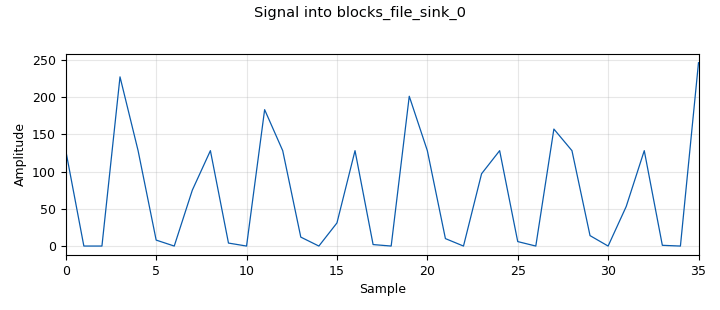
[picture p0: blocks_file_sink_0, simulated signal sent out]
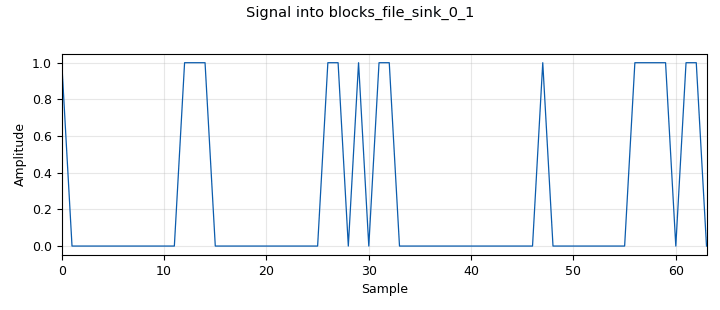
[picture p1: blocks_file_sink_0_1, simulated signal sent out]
<?xml version='1.0' encoding='utf-8'?>
<?grc format='1' created='3.7.8'?>
<flow_graph>
<block>
<key>options</key>
<param><key>id</key><value>top_block</value></param>
<param><key>category</key><value>Custom</value></param>
<param><key>generate_options</key><value>qt_gui</value></param>
</block>
<block>
<key>variable</key>
<param><key>id</key><value>preamble_0</value></param>
<param><key>value</key><value>[1, 1, 1, 1, 1, 1, 1, 1, 0, 0, 0, 0, 0, 0, 1, 1, 0, 1, 0, 1, 1, 0, 1, 0, 0, 1, 0, 1, 0, 0, 0, 0, 0, 1, 1, 1, 0, 1, 0, 0, 1, 1, 0, 1, 1, 1, 1, 0, 1, 0, 1, 1, 1, 0, 1, 1, 0, 1, 1, 0, 1, 0, 1, 0, 1, 0, 1, 1, 0,0, 1, 1, 0, 1, 0, 0, 0, 1, 0, 1, 1, 1, 0, 0, 0, 1, 0, 0, 1, 1, 0, 0, 0, 0, 0, 1, 0, 0, 1, 0, 1, 1, 1, 1, 1, 1, 0, 1, 1, 1, 1, 1, 0, 1, 0,0, 0, 0, 1, 0, 0, 0, 1, 0, 0, 0, 0, 1, 1, 1, 1, 0, 1, 1, 0, 0, 0, 1, 0, 1, 0, 0, 1, 1, 1, 0, 0, 0, 0, 1, 1, 0, 0, 1, 0, 0, 1, 0, 0, 0, 0, 0, 0, 0, 0, 1, 0, 1, 0, 1, 0, 0, 0, 1, 1, 0, 0, 0, 1, 1, 0, 1, 1, 0, 0, 1, 0, 1, 0, 1, 1, 1, 1, 0, 0, 1, 0, 0, 0, 1, 1, 1, 1, 1, 0, 0, 1,1, 1, 1, 0, 0, 0, 1, 1, 1, 0, 0, 1, 1, 0, 0, 1, 1, 1, 0, 1, 1, 1, 0, 0, 1, 0, 1, 1, 0, 0, 0, 0, 1, 0, 1, 1, 0, 1, 1, 1, 0, 1, 0, 1, 0, 0, 1, 0, 0]</value></param>
</block>
<block>
<key>variable</key>
<param><key>id</key><value>samp_rate</value></param>
<param><key>value</key><value>32000</value></param>
</block>
<block>
<key>blocks_file_sink</key>
<param><key>id</key><value>blocks_file_sink_0</value></param>
<param><key>file</key><value>/home/inets/Desktop/build_in_header.bin</value></param>
<param><key>type</key><value>byte</value></param>
<param><key>unbuffered</key><value>True</value></param>
</block>
<block>
<key>blocks_file_sink</key>
<param><key>id</key><value>blocks_file_sink_0_0</value></param>
<param><key>file</key><value>/home/inets/Desktop/custom_header.bin</value></param>
<param><key>type</key><value>byte</value></param>
<param><key>unbuffered</key><value>True</value></param>
</block>
<block>
<key>blocks_file_sink</key>
<param><key>id</key><value>blocks_file_sink_0_1</value></param>
<param><key>file</key><value>/home/inets/Desktop/build_in_header_unpacked.bin</value></param>
<param><key>type</key><value>byte</value></param>
<param><key>unbuffered</key><value>True</value></param>
</block>
<block>
<key>blocks_message_debug</key>
<param><key>id</key><value>blocks_message_debug_0</value></param>
<param><key>_enabled</key><value>0</value></param>
</block>
<block>
<key>blocks_message_strobe</key>
<param><key>id</key><value>blocks_message_strobe_0</value></param>
<param><key>msg</key><value>pmt.intern("TEST")</value></param>
<param><key>period</key><value>1000</value></param>
</block>
<block>
<key>blocks_pdu_to_tagged_stream</key>
<param><key>id</key><value>blocks_pdu_to_tagged_stream_0</value></param>
<param><key>type</key><value>byte</value></param>
<param><key>tag</key><value>packet_len</value></param>
</block>
<block>
<key>blocks_pdu_to_tagged_stream</key>
<param><key>id</key><value>blocks_pdu_to_tagged_stream_0_0</value></param>
<param><key>type</key><value>byte</value></param>
<param><key>tag</key><value>packet_len</value></param>
</block>
<block>
<key>blocks_random_pdu</key>
<param><key>id</key><value>blocks_random_pdu_0</value></param>
<param><key>mask</key><value>0xFF</value></param>
<param><key>length_modulo</key><value>1</value></param>
<param><key>maxsize</key><value>1</value></param>
<param><key>minsize</key><value>1</value></param>
</block>
<block>
<key>blocks_tag_debug</key>
<param><key>id</key><value>blocks_tag_debug_0</value></param>
<param><key>type</key><value>byte</value></param>
</block>
<block>
<key>blocks_unpacked_to_packed_xx</key>
<param><key>id</key><value>blocks_unpacked_to_packed_xx_0</value></param>
<param><key>bits_per_chunk</key><value>1</value></param>
<param><key>endianness</key><value>gr.GR_MSB_FIRST</value></param>
<param><key>type</key><value>byte</value></param>
</block>
<block>
<key>digital_packet_headergenerator_bb_default</key>
<param><key>id</key><value>digital_packet_headergenerator_bb_default_0</value></param>
<param><key>header_len</key><value>32</value></param>
<param><key>len_tag_key</key><value>"packet_len"</value></param>
</block>
<block>
<key>inets_packetizer</key>
<param><key>id</key><value>inets_packetizer_0</value></param>
<param><key>padding</key><value>128</value></param>
<param><key>preamble</key><value>preamble_0</value></param>
</block>
<connection><source_block_id>blocks_message_strobe_0</source_block_id><sink_block_id>blocks_random_pdu_0</sink_block_id><source_key>strobe</source_key><sink_key>generate</sink_key></connection>
<connection><source_block_id>blocks_pdu_to_tagged_stream_0</source_block_id><sink_block_id>blocks_file_sink_0_0</sink_block_id><source_key>0</source_key><sink_key>0</sink_key></connection>
<connection><source_block_id>blocks_pdu_to_tagged_stream_0</source_block_id><sink_block_id>blocks_tag_debug_0</sink_block_id><source_key>0</source_key><sink_key>0</sink_key></connection>
<connection><source_block_id>blocks_pdu_to_tagged_stream_0_0</source_block_id><sink_block_id>digital_packet_headergenerator_bb_default_0</sink_block_id><source_key>0</source_key><sink_key>0</sink_key></connection>
<connection><source_block_id>blocks_random_pdu_0</source_block_id><sink_block_id>blocks_pdu_to_tagged_stream_0_0</sink_block_id><source_key>pdus</source_key><sink_key>pdus</sink_key></connection>
<connection><source_block_id>blocks_random_pdu_0</source_block_id><sink_block_id>inets_packetizer_0</sink_block_id><source_key>pdus</source_key><sink_key>payload_in</sink_key></connection>
<connection><source_block_id>blocks_unpacked_to_packed_xx_0</source_block_id><sink_block_id>blocks_file_sink_0</sink_block_id><source_key>0</source_key><sink_key>0</sink_key></connection>
<connection><source_block_id>digital_packet_headergenerator_bb_default_0</source_block_id><sink_block_id>blocks_file_sink_0_1</sink_block_id><source_key>0</source_key><sink_key>0</sink_key></connection>
<connection><source_block_id>digital_packet_headergenerator_bb_default_0</source_block_id><sink_block_id>blocks_unpacked_to_packed_xx_0</sink_block_id><source_key>0</source_key><sink_key>0</sink_key></connection>
<connection><source_block_id>inets_packetizer_0</source_block_id><sink_block_id>blocks_message_debug_0</sink_block_id><source_key>packet_out</source_key><sink_key>print_pdu</sink_key></connection>
<connection><source_block_id>inets_packetizer_0</source_block_id><sink_block_id>blocks_pdu_to_tagged_stream_0</sink_block_id><source_key>packet_out</source_key><sink_key>pdus</sink_key></connection>
</flow_graph>
